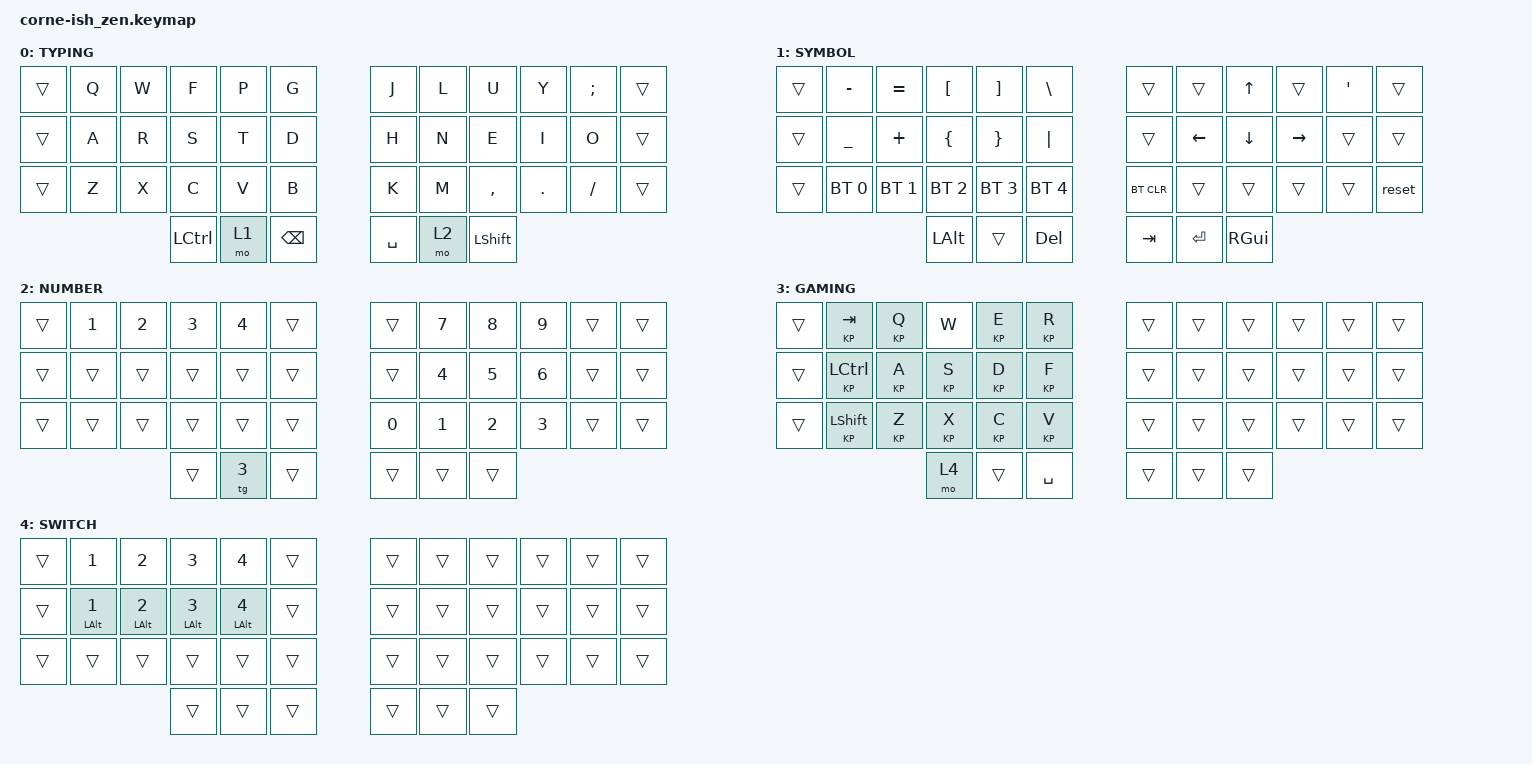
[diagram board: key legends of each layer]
/*
*
* Copyright (c) 2021 Darryl deHaan
* SPDX-License-Identifier: MIT
*
*/

#include <behaviors.dtsi>
#include <dt-bindings/zmk/keys.h>
#include <dt-bindings/zmk/bt.h>

/ {
        keymap {
                compatible = "zmk,keymap";

                default_layer {
                        label = "TYPING ";
// -----------------------------------------------------------------------------------------
// |      |  Q  |  W  |  F  |  P  |  G  |   |  J  |  L   |  U  |  Y  |  ;  |      |
// |      |  A  |  R  |  S  |  T  |  D  |   |  H  |  N   |  E  |  I  |  O  |      |
// |      |  Z  |  X  |  C  |  V  |  B  |   |  K  |  M   |  ,  |  .  |  /  |      |
//                  | CTRL | LWR | BKSP |   | SPC | RSE  | SHFT |
                        bindings = <
   &trans &kp Q &kp W &kp F &kp P &kp G    &kp J &kp L  &kp U     &kp Y   &kp SEMI &trans
   &trans &kp A &kp R &kp S &kp T &kp D    &kp H &kp N  &kp E     &kp I   &kp O    &trans
   &trans &kp Z &kp X &kp C &kp V &kp B    &kp K &kp M  &kp COMMA &kp DOT &kp FSLH &trans
                  &kp LCTRL &mo 1 &kp BKSP &kp SPACE    &mo 2     &kp LSHFT
                        >;
                };
                lower_layer {
                        label = "SYMBOL";
// -----------------------------------------------------------------------------------------
// |      |  -  |  =  |  [  |  ]  |  \  |   |     |  UP |     |     |  '  |      |
// |      |  _  |  +  |  {  |  }  | "|" |   | LFT | DWN | RGT |     |     |      |
// |      | BT1 | BT2 | BT3 | BT4 | BT5 |   |BTCLR|     |     |     |     |      |
//                    | ALT |     | DEL |   | TAB | ENT | GUI |
                        bindings = <
   &trans &kp MINUS &kp EQUAL &kp LBKT &kp RBKT &kp BSLH                      &trans     &trans   &kp UP   &trans    &kp SQT &trans
   &trans &kp UNDER &kp PLUS  &kp LBRC &kp RBRC &kp PIPE                      &trans     &kp LEFT &kp DOWN &kp RIGHT &trans  &trans
   &trans &bt BT_SEL 0 &bt BT_SEL 1 &bt BT_SEL 2 &bt BT_SEL 3 &bt BT_SEL 4    &bt BT_CLR &trans   &trans   &trans    &trans  &reset
                          	    &kp LALT     &trans       &kp DEL         &kp TAB    &kp RET  &kp RGUI
                        >;
                };
                raise_layer {
                        label = "NUMBER";
// -----------------------------------------------------------------------------------------
// |      |  1  |  2  |  3  |  4  |     |   |     |  7  |  8  |  9  |     |      |
// |      | A1  | A2  | A3  | A4  |     |   |     |  4  |  5  |  6  |     |      |
// |      |     |     |     |     |     |   |  0  |  1  |  2  |  3  |     |      |
//                    |     |     |     |   |     |     |     |
                        bindings = <
   &trans &kp N1 &kp N2 &kp N3 &kp N4 &trans     &trans &kp N7 &kp N8 &kp N9 &trans &trans
   &trans &trans &trans &trans &trans &trans     &trans &kp N4 &kp N5 &kp N6 &trans &trans
   &trans &trans &trans &trans &trans &trans     &kp N0 &kp N1 &kp N2 &kp N3 &trans &trans
                    	&trans &tg 3  &trans     &trans &trans &trans
                        >;
                };
                gaming_layer {
                        label = "GAMING";
// -----------------------------------------------------------------------------------------
// |      | TAB |  Q  |  W  |  E  |  R  |   |     |     |     |     |     |      |
// |      | CTR |  A  |  S  |  D  |  F  |   |     |     |     |     |     |      |
// |      | SFT |  Z  |  X  |  C  |  V  |   |     |     |     |     |     |      |
//                    |     |     | SPC |   |     |     |     |
                        bindings = <
   &trans &KP TAB   &KP Q &kp W  &KP E  &KP R         &trans &trans &trans &trans &trans &trans
   &trans &KP LCTRL &KP A &KP S  &KP D  &KP F         &trans &trans &trans &trans &trans &trans
   &trans &KP LSHFT &KP Z &KP X  &KP C  &KP V         &trans &trans &trans &trans &trans &trans
                    	  &mo 4  &trans &kp SPACE     &trans &trans &trans
                        >;
                };
                switch_layer {
                        label = "SWITCH";
// -----------------------------------------------------------------------------------------
// |      |  1  |  2  |  3  |  4  |     |   |     |  7  |  8  |  9  |     |      |
// |      | A1  | A2  | A3  | A4  |     |   |     |  4  |  5  |  6  |     |      |
// |      |     |     |     |     |     |   |  0  |  1  |  2  |  3  |     |      |
//                    |     |     |     |   |     |     |     |
                        bindings = <
   &trans &kp N1      &kp N2      &kp N3      &kp N4      &trans     &trans &trans &trans &trans &trans &trans
   &trans &mt LALT N1 &mt LALT N2 &mt LALT N3 &mt LALT N4 &trans     &trans &trans &trans &trans &trans &trans
   &trans &trans      &trans      &trans      &trans      &trans     &trans &trans &trans &trans &trans &trans
                    	          &trans      &trans      &trans     &trans &trans &trans
                        >;
                };
        };
};
